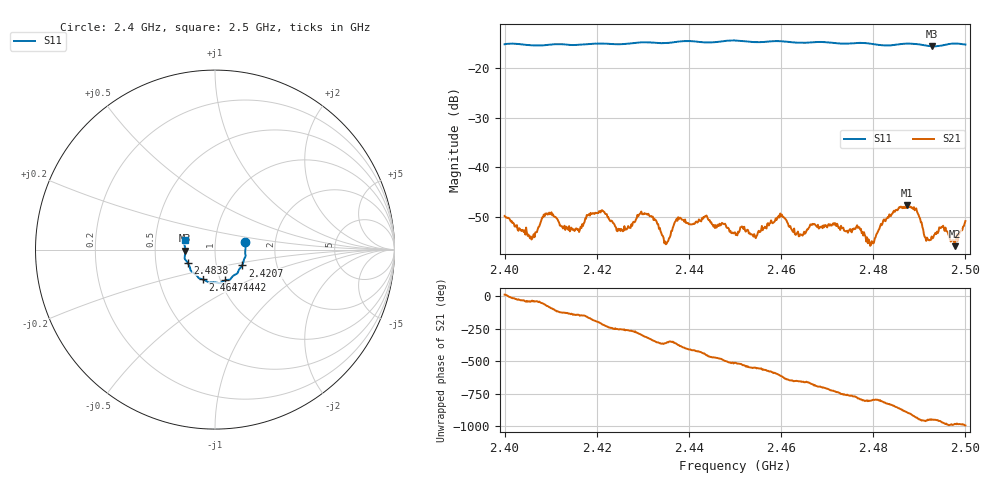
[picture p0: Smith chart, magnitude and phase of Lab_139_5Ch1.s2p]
# Hz S RI R 50
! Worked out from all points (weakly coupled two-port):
!   601 points, 2.4 GHz to 2.5 GHz, reference 50 ohm
!   highest |S21| = -47.65 dB at 2.4873 GHz (marker M1); lowest = -55.8 dB at 2.4977 GHz (marker M2)
!   lowest |S11| = -15.6 dB at 2.4928 GHz (marker M3), VSWR 1.40, Z = 35.8 - j0.43 ohm
!   |S11| at or under -10 dB: start of sweep to end of sweep
!   S12 and S22 are empty: the file has one direction only
!   S11 on the Smith chart (normalised r, x): 2.4 GHz: 1.40, +0.12; 2.4207 GHz: 1.33, -0.24; 2.4442 GHz: 1.05, -0.37; 2.4647 GHz: 0.83, -0.29; 2.4838 GHz: 0.73, -0.11; 2.5 GHz: 0.71, +0.08
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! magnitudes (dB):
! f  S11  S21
! 2.4 GHz  -15.2  -49.8
! 2.4055 GHz  -15.4  -54.2
! 2.4093 GHz  -15.3  -49.5
! 2.4167 GHz  -15.3  -52.2
! 2.4207 GHz  -15.1  -48.8
! 2.4248 GHz  -15.2  -52.6
! 2.4298 GHz  -14.8  -49.4
! 2.4333 GHz  -15.0  -51.4
! 2.4352 GHz  -15.0  -55.3
! 2.4377 GHz  -14.7  -50.0
! 2.4442 GHz  -14.9  -50.4
! 2.45 GHz  -14.5  -53.1
! 2.46 GHz  -14.6  -49.7
! 2.4647 GHz  -14.9  -53.7
! 2.4667 GHz  -14.8  -51.6
! 2.4797 GHz  -15.1  -54.8
! 2.4833 GHz  -15.5  -50.1
! 2.4838 GHz  -15.4  -49.8
! 2.4873 GHz  -15.1  -47.6
! 2.4928 GHz  -15.6  -54.3
! 2.4977 GHz  -15.1  -55.8
! 2.5 GHz  -15.3  -50.8
